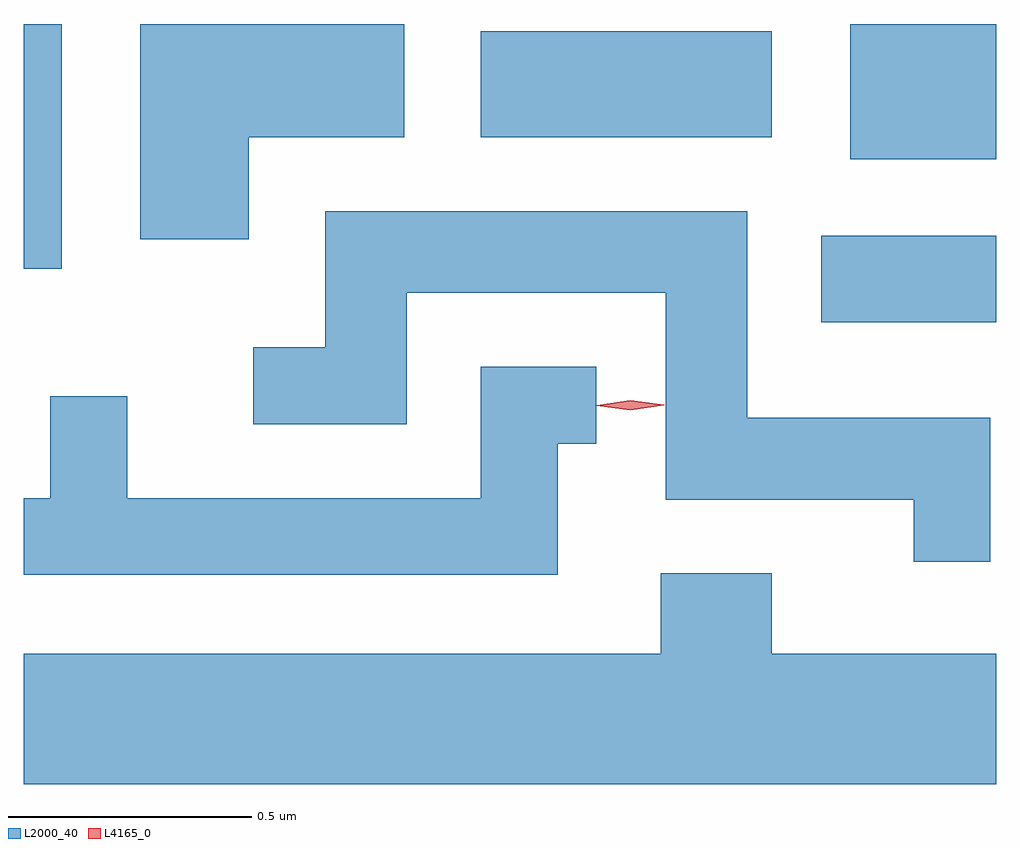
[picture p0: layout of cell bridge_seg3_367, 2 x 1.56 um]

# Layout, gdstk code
import gdstk
lib = gdstk.Library(unit=1e-6, precision=1e-09)
def R(c, l, rs):  # rectangles x0, y0, x1, y1
    for r in rs: c.add(gdstk.rectangle(r[:2], r[2:], *l))
def P(c, l, *ps):  # polygons
    for p in ps: c.add(gdstk.Polygon(p, *l))
L2000_40 = (2000, 40)
L4165_0 = (4165, 0)

bridge_seg3_367 = lib.new_cell('bridge_seg3_367')
R(bridge_seg3_367, L2000_40, [(671.851,1200.226,672.211,1200.404), (670.211,1200.336,670.289,1200.839), (671.911,1200.561,672.211,1200.839), (671.151,1200.606,671.749,1200.824)])
P(bridge_seg3_367, L2000_40, [(670.674,1200.606),(670.994,1200.606),(670.994,1200.839),(670.451,1200.839),(670.451,1200.396),(670.674,1200.396)],
  [(672.199,1200.029),(671.699,1200.029),(671.699,1200.454),(670.831,1200.454),(670.831,1200.174),(670.683,1200.174),(670.683,1200.016),(670.999,1200.016),(670.999,1200.286),(671.531,1200.286),(671.531,1199.861),(672.041,1199.861),(672.041,1199.733),(672.199,1199.733)],
  [(671.309,1199.976),(671.388,1199.976),(671.388,1200.134),(671.151,1200.134),(671.151,1199.864),(670.424,1199.864),(670.424,1200.073),(670.266,1200.073),(670.266,1199.864),(670.211,1199.864),(670.211,1199.706),(671.309,1199.706)],
  [(672.211,1199.544),(671.749,1199.544),(671.749,1199.709),(671.521,1199.709),(671.521,1199.544),(670.211,1199.544),(670.211,1199.276),(672.211,1199.276)])
P(bridge_seg3_367, L4165_0, [(671.458,1200.045),(671.389,1200.054),(671.389,1200.055),(671.389,1200.055),(671.458,1200.065),(671.528,1200.056),(671.528,1200.056),(671.528,1200.055)])

lib.write_gds('bridge_seg3_367.gds')
